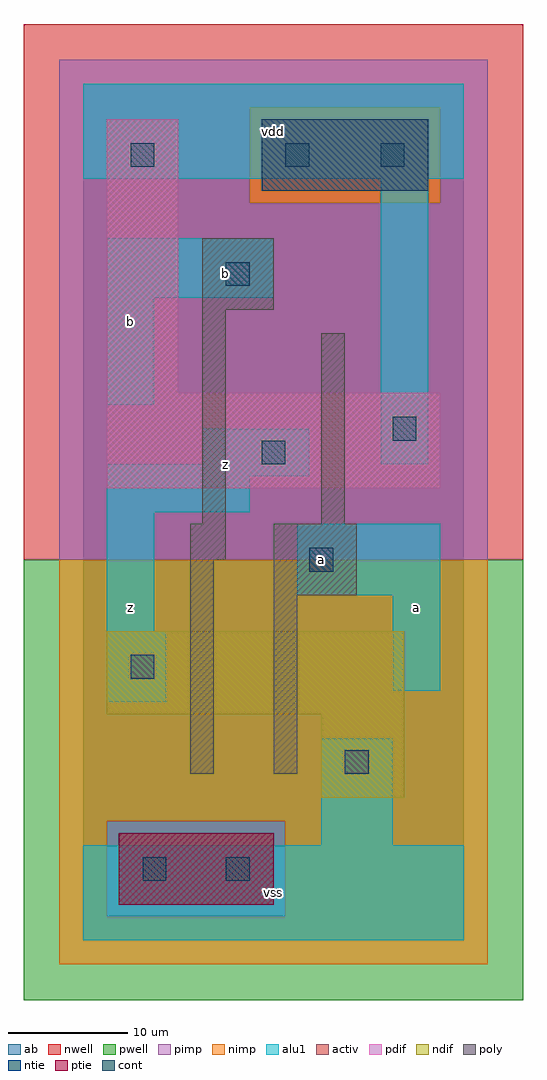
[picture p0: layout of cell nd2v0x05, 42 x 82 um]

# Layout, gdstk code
import gdstk
lib = gdstk.Library(unit=1e-6, precision=1e-09)
def R(c, l, rs):  # rectangles x0, y0, x1, y1
    for r in rs: c.add(gdstk.rectangle(r[:2], r[2:], *l))
ndif = (3, 0)
pdif = (4, 0)
ntie = (5, 0)
ptie = (6, 0)
cont = (25, 0)
pwell = (41, 0)
nwell = (42, 0)
activ = (43, 0)
pimp = (44, 0)
nimp = (45, 0)
poly = (46, 0)
alu1 = (49, 0)
ab = (63, 0)

nd2v0x05 = lib.new_cell('nd2v0x05')
R(nd2v0x05, ndif, [(20,12,27,19), (2,19,27,26)])
R(nd2v0x05, pdif, [(2,38,30,46), (2,46,8,69)])
R(nd2v0x05, ntie, [(15,63,29,69)])
R(nd2v0x05, ptie, [(3,3,16,9)])
R(nd2v0x05, cont, [(5,5,7,7), (12,5,14,7), (22,14,24,16), (4,22,6,24), (19,31,21,33), (15,40,17,42), (26,42,28,44), (12,55,14,57), (4,65,6,67), (17,65,19,67), (25,65,27,67)])
R(nd2v0x05, pwell, [(-5,-5,37,32)])
R(nd2v0x05, nwell, [(-5,32,37,77)])
R(nd2v0x05, activ, [(3,3,16,9), (20,12,27,19), (2,19,27,26), (2,38,30,46), (2,46,8,69), (15,63,29,69)])
R(nd2v0x05, pimp, [(2,2,17,10), (-2,32,34,62), (-2,62,14,70), (30,62,34,70), (-2,70,34,74)])
R(nd2v0x05, nimp, [(-2,-2,34,2), (-2,2,2,10), (17,2,34,10), (-2,10,34,32), (14,62,30,70)])
R(nd2v0x05, poly, [(9,14,11,32), (16,14,18,29), (16,29,23,35), (9,32,12,35), (10,35,12,53), (20,35,22,51), (10,53,16,59)])
R(nd2v0x05, alu1, [(0,0,32,8), (20,8,26,17), (2,20,7,26), (26,21,30,29), (2,26,6,36), (18,29,30,35), (2,36,14,39), (2,39,19,40), (10,40,19,43), (25,40,29,64), (2,45,6,54), (2,54,16,59), (0,64,32,72)])
R(nd2v0x05, ab, [(0,0,32,72)])
nd2v0x05.add(gdstk.Label('z', (4,28), layer=49, texttype=0))
nd2v0x05.add(gdstk.Label('b', (4,52), layer=49, texttype=0))
nd2v0x05.add(gdstk.Label('z', (12,40), layer=49, texttype=0))
nd2v0x05.add(gdstk.Label('b', (12,56), layer=49, texttype=0))
nd2v0x05.add(gdstk.Label('vss', (16,4), layer=49, texttype=0))
nd2v0x05.add(gdstk.Label('a', (20,32), layer=49, texttype=0))
nd2v0x05.add(gdstk.Label('vdd', (16,68), layer=49, texttype=0))
nd2v0x05.add(gdstk.Label('a', (28,28), layer=49, texttype=0))

lib.write_gds('nd2v0x05.gds')
